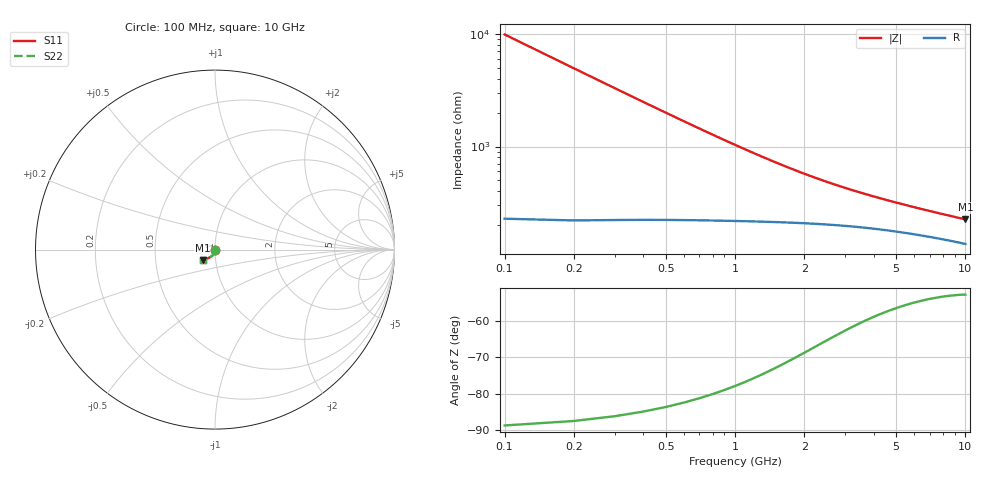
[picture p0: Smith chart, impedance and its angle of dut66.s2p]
! Touchstone file exported from HFSS 2024.1.0
!  File:  C:/UserFiles/LocalFiles/RDL_TSV_Batchsim/temp_TSV1_66_1778749640.aedt
!  Generated:  05:12:20 PM May 14, 2026
!  Design:  TSV1
!  Project:  temp_TSV1_66_1778749640
!  Setup:  Setup1
!  Solution:  Sweep
! Variables:
!  dtsv = 16.75um
!  hbump = 3um
!  htsv = 78.98um
!  lrdl = 252.1521522um
!  p = 40
!  p1 = 41.35um
!  t = 500um
!  trdl = 3um
!  wrdl = 24.89489489um
# GHz S MA R 50.000000
! Terminal data exported
! Port[1] = TSV22_T1
! Port[2] = TSV22_T2
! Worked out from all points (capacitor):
!   100 points, 100 MHz to 10 GHz, reference 50 ohm
!   read as one part in shunt: C = 161 fF near 100 MHz
!   lowest |Z| = 225 ohm at 10 GHz (marker M1)
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0.1  0.002265 -89.4  0.9999 -0.2  0.9999 -0.2  0.002265 -89.4
! Gamma 0 0 0 0
! Port Impedance 50 0 50 0
0.2  0.004545 -91.7  0.9997 -0.3  0.9997 -0.3  0.004545 -91.7
0.3  0.006819 -93.5  0.9993 -0.5  0.9993 -0.5  0.006819 -93.5
0.4  0.009073 -95.2  0.9989 -0.6  0.9989 -0.6  0.009073 -95.2
0.5  0.0113 -96.8  0.9984 -0.8  0.9984 -0.8  0.0113 -96.8
0.6  0.01349 -98.3  0.9977 -0.9  0.9977 -0.9  0.01349 -98.3
0.7  0.01565 -99.8  0.997 -1.1  0.997 -1.1  0.01565 -99.8
0.8  0.01776 -101.3  0.9962 -1.2  0.9962 -1.2  0.01776 -101.3
0.9  0.01983 -102.7  0.9953 -1.3  0.9953 -1.3  0.01983 -102.7
1.1  0.02381 -105.4  0.9934 -1.6  0.9934 -1.6  0.02381 -105.4
1.4  0.02937 -109.1  0.9903 -1.9  0.9903 -1.9  0.02937 -109.1
1.6  0.03279 -111.3  0.988 -2.2  0.988 -2.2  0.03279 -111.3
1.8  0.03599 -113.5  0.9857 -2.4  0.9857 -2.4  0.03599 -113.5
2.1  0.0404 -116.3  0.9822 -2.6  0.9822 -2.6  0.0404 -116.3
2.5  0.04559 -119.7  0.9777 -2.9  0.9777 -2.9  0.04559 -119.7
2.9  0.05013 -122.5  0.9735 -3.2  0.9735 -3.2  0.05013 -122.5
3.4  0.05505 -125.4  0.9687 -3.5  0.9687 -3.5  0.05505 -125.4
4.2  0.06164 -129.0  0.962 -3.9  0.962 -3.9  0.06164 -129.0
5.1  0.06774 -132.0  0.9557 -4.2  0.9557 -4.2  0.06774 -132.0
6.7  0.07642 -135.6  0.9468 -4.8  0.9468 -4.8  0.07642 -135.6
8.4  0.0837 -138.1  0.9395 -5.4  0.9395 -5.4  0.0837 -138.1
10  0.08938 -139.8  0.934 -5.9  0.934 -5.9  0.08938 -139.8
